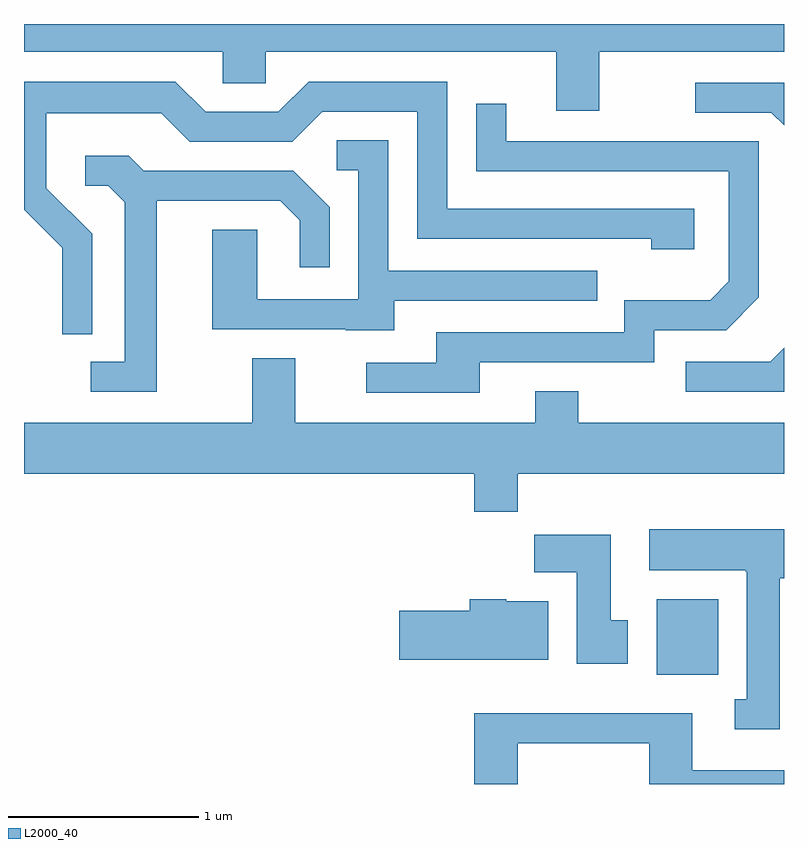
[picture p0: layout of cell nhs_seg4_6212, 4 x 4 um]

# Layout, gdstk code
import gdstk
lib = gdstk.Library(unit=1e-6, precision=1e-09)
def R(c, l, rs):  # rectangles x0, y0, x1, y1
    for r in rs: c.add(gdstk.rectangle(r[:2], r[2:], *l))
def P(c, l, *ps):  # polygons
    for p in ps: c.add(gdstk.Polygon(p, *l))
L2000_40 = (2000, 40)

nhs_seg4_6212 = lib.new_cell('nhs_seg4_6212')
R(nhs_seg4_6212, L2000_40, [(370.941,1302.556,371.264,1302.954)])
P(nhs_seg4_6212, L2000_40, [(370.639,1305.836),(371.611,1305.836),(371.611,1305.982),(367.611,1305.982),(367.611,1305.836),(368.656,1305.836),(368.656,1305.671),(368.884,1305.671),(368.884,1305.836),(370.411,1305.836),(370.411,1305.526),(370.639,1305.526)],
  [(367.969,1304.877),(367.729,1305.117),(367.729,1305.511),(368.334,1305.511),(368.484,1305.361),(369.022,1305.361),(369.182,1305.521),(369.681,1305.521),(369.681,1304.851),(370.911,1304.851),(370.911,1304.796),(371.139,1304.796),(371.139,1305.009),(369.839,1305.009),(369.839,1305.679),(369.109,1305.679),(368.949,1305.519),(368.567,1305.519),(368.407,1305.679),(367.611,1305.679),(367.611,1305.004),(367.811,1304.804),(367.811,1304.348),(367.969,1304.348)],
  [(371.611,1305.674),(371.143,1305.674),(371.143,1305.516),(371.544,1305.516),(371.611,1305.449)],
  [(370.009,1304.201),(370.929,1304.201),(370.929,1304.371),(371.307,1304.371),(371.479,1304.544),(371.479,1305.364),(370.149,1305.364),(370.149,1305.563),(369.991,1305.563),(369.991,1305.206),(371.321,1305.206),(371.321,1304.627),(371.224,1304.529),(370.771,1304.529),(370.771,1304.359),(369.781,1304.359),(369.781,1304.199),(369.413,1304.199),(369.413,1304.041),(370.009,1304.041)],
  [(369.559,1304.526),(370.628,1304.526),(370.628,1304.684),(369.529,1304.684),(369.529,1305.369),(369.258,1305.369),(369.258,1305.211),(369.371,1305.211),(369.371,1304.534),(368.839,1304.534),(368.839,1304.899),(368.601,1304.899),(368.601,1304.376),(369.305,1304.376),(369.305,1304.371),(369.559,1304.371)],
  [(368.309,1305.051),(368.959,1305.051),(369.061,1304.949),(369.061,1304.703),(369.219,1304.703),(369.219,1305.017),(369.027,1305.209),(368.242,1305.209),(368.162,1305.289),(367.933,1305.289),(367.933,1305.131),(368.054,1305.131),(368.141,1305.044),(368.141,1304.204),(367.963,1304.204),(367.963,1304.046),(368.309,1304.046)],
  [(371.611,1304.277),(371.539,1304.204),(371.093,1304.204),(371.093,1304.046),(371.611,1304.046)],
  [(370.209,1303.616),(371.611,1303.616),(371.611,1303.884),(370.529,1303.884),(370.529,1304.049),(370.301,1304.049),(370.301,1303.884),(369.039,1303.884),(369.039,1304.224),(368.811,1304.224),(368.811,1303.884),(367.611,1303.884),(367.611,1303.616),(369.981,1303.616),(369.981,1303.416),(370.209,1303.416)],
  [(371.589,1303.066),(371.611,1303.066),(371.611,1303.324),(370.901,1303.324),(370.901,1303.106),(371.41,1303.106),(371.41,1303.1),(371.416,1303.1),(371.416,1302.429),(371.353,1302.429),(371.353,1302.271),(371.589,1302.271)],
  [(370.789,1302.844),(370.699,1302.844),(370.699,1303.294),(370.296,1303.294),(370.296,1303.096),(370.521,1303.096),(370.521,1302.616),(370.789,1302.616)],
  [(370.369,1302.944),(370.15,1302.944),(370.15,1302.954),(369.956,1302.954),(369.956,1302.894),(369.586,1302.894),(369.586,1302.636),(370.369,1302.636)],
  [(370.209,1302.196),(370.901,1302.196),(370.901,1301.982),(371.611,1301.982),(371.611,1302.054),(371.129,1302.054),(371.129,1302.354),(369.981,1302.354),(369.981,1301.982),(370.209,1301.982)])

lib.write_gds('nhs_seg4_6212.gds')
